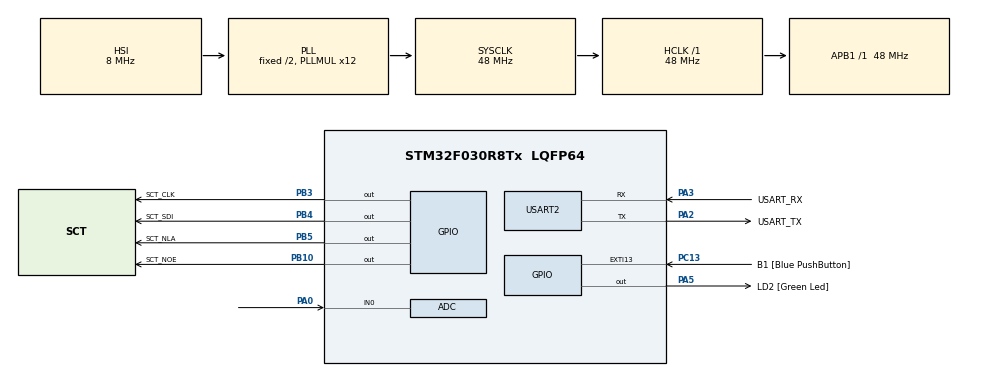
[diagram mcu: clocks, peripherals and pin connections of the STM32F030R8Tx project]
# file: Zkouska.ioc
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ADC.ContinuousConvMode=ENABLE
ADC.Overrun=ADC_OVR_DATA_OVERWRITTEN
ADC.SamplingTime=ADC_SAMPLETIME_239CYCLES_5
Mcu.Family=STM32F0
Mcu.Name=STM32F030R8Tx
Mcu.Package=LQFP64
NVIC.ADC1_IRQn=true\:0\:0\:false\:false\:true\:true\:true\:true
PA0.Mode=IN0
PA0.Signal=ADC_IN0
PA13.GPIO_Label=TMS
PA13.Mode=Serial_Wire
PA13.Signal=SYS_SWDIO
PA14.GPIO_Label=TCK
PA14.Mode=Serial_Wire
PA14.Signal=SYS_SWCLK
PA2.GPIO_Label=USART_TX
PA2.GPIO_Mode=GPIO_MODE_AF_PP
PA2.GPIO_PuPd=GPIO_NOPULL
PA2.GPIO_Speed=GPIO_SPEED_FREQ_LOW
PA2.Mode=Asynchronous
PA2.Signal=USART2_TX
PA3.GPIO_Label=USART_RX
PA3.GPIO_Mode=GPIO_MODE_AF_PP
PA3.GPIO_PuPd=GPIO_NOPULL
PA3.GPIO_Speed=GPIO_SPEED_FREQ_LOW
PA3.Mode=Asynchronous
PA3.Signal=USART2_RX
PA5.GPIO_Label=LD2 [Green Led]
PA5.GPIO_Mode=GPIO_MODE_OUTPUT_PP
PA5.GPIO_PuPd=GPIO_NOPULL
PA5.GPIO_Speed=GPIO_SPEED_FREQ_LOW
PA5.Signal=GPIO_Output
PB10.GPIO_Label=SCT_NOE
PB10.Signal=GPIO_Output
PB3.GPIO_Label=SCT_CLK
PB3.Signal=GPIO_Output
PB4.GPIO_Label=SCT_SDI
PB4.Signal=GPIO_Output
PB5.GPIO_Label=SCT_NLA
PB5.Signal=GPIO_Output
PC13.GPIO_Label=B1 [Blue PushButton]
PC13.GPIO_ModeDefaultEXTI=GPIO_MODE_IT_FALLING
PC13.Signal=GPXTI13
PC14-OSC32_IN.Mode=LSE-External-Oscillator
PC14-OSC32_IN.Signal=RCC_OSC32_IN
PC15-OSC32_OUT.Mode=LSE-External-Oscillator
PC15-OSC32_OUT.Signal=RCC_OSC32_OUT
PF0-OSC_IN.Mode=HSE-External-Clock-Source
PF0-OSC_IN.Signal=RCC_OSC_IN
PF1-OSC_OUT.Signal=RCC_OSC_OUT
ProjectManager.HeapSize=0x200
ProjectManager.StackSize=0x400
ProjectManager.TargetToolchain=STM32CubeIDE
RCC.AHBFreq_Value=48000000
RCC.APB1Freq_Value=48000000
RCC.APB1TimFreq_Value=48000000
RCC.HCLKFreq_Value=48000000
RCC.PLLMUL=RCC_PLL_MUL12
RCC.SYSCLKFreq_VALUE=48000000
RCC.SYSCLKSource=RCC_SYSCLKSOURCE_PLLCLK
USART2.VirtualMode-Asynchronous=VM_ASYNC
board=NUCLEO-F030R8

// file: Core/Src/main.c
/* USER CODE BEGIN Header */
/**
  ******************************************************************************
  * @file           : main.c
  * @brief          : Main program body
  ******************************************************************************
  * @attention
  *
  * Copyright (c) 2024 STMicroelectronics.
  * All rights reserved.
  *
  * This software is licensed under terms that can be found in the LICENSE file
  * in the root directory of this software component.
  * If no LICENSE file comes with this software, it is provided AS-IS.
  *
  * This is an exam from the MPC-MKS course.
  * Assigment is to use the potentiometer to select how fast will a knight rider
  * effect go. The effect will be done using the LED bar in the SCT library. The
  * delay is then shown on the sct display. Delay has limits from 20 to 500 ms.
  * 3 LEDs are shining at one time used as the "sweeping" bar.
  *
  *
  ******************************************************************************
  */
/* USER CODE END Header */
#include "main.h"

/* USER CODE BEGIN Includes */
#include "sct.h"
/* USER CODE END Includes */

/* USER CODE BEGIN PM */
#define ADC_Q 12 //Smoothing
#define displayDelay 50 //Number display delay
/* USER CODE END PM */

ADC_HandleTypeDef hadc;

UART_HandleTypeDef huart2;

/* USER CODE BEGIN PV */
static volatile uint32_t raw_pot;
/* USER CODE END PV */

void SystemClock_Config(void);
static void MX_GPIO_Init(void);
static void MX_USART2_UART_Init(void);
static void MX_ADC_Init(void);
/* USER CODE BEGIN PFP */
void HAL_ADC_ConvCpltCallback(ADC_HandleTypeDef* hadc);
/* USER CODE END PFP */

int main(void)
{

  /* MCU Configuration--------------------------------------------------------*/

  /* Reset of all peripherals, Initializes the Flash interface and the Systick. */
  HAL_Init();

  /* Configure the system clock */
  SystemClock_Config();

  /* Initialize all configured peripherals */
  MX_GPIO_Init();
  MX_USART2_UART_Init();
  MX_ADC_Init();
  /* USER CODE BEGIN 2 */
  // ADC Auto calibration
  HAL_ADCEx_Calibration_Start(&hadc);
  HAL_ADC_Start_IT(&hadc);
  // SCT library LED init
  sct_init();
  /* USER CODE END 2 */

  /* Infinite loop */
  /* USER CODE BEGIN WHILE */
  while (1)
  {
	  static uint32_t delayTime = 0;
	  static uint32_t prevTick = 0;
	  static uint32_t prevTickKITT = 0;
	  static uint8_t kittPos = 0;
	  static uint8_t kittDir = 1;

	  // Rescale the potentiometer value to 20-500 from 0-4095
	  delayTime = raw_pot* 480.9 /4095 + 20;

	  // Display the delay value on the display
	  if (HAL_GetTick() > prevTick + displayDelay) {
		  sct_value(delayTime, kittPos);
		  prevTick = HAL_GetTick();
	  }

	  // Knight Rider effect, Increments then decrements back to 0
	  if (HAL_GetTick() > prevTickKITT + delayTime){
		  sct_value(delayTime, kittPos);
		  if(kittDir == 1) {
			  kittPos++;
			  if(kittPos == 9) {
				  kittDir = 0;
			  }
		  } else {
			  kittPos--;
			  if(kittPos == 0) {
				  kittDir = 1;
			  }
		  }
		  prevTickKITT = HAL_GetTick();
	  }

    /* USER CODE END WHILE */
  }
}

void SystemClock_Config(void)
{
  RCC_OscInitTypeDef RCC_OscInitStruct = {0};
  RCC_ClkInitTypeDef RCC_ClkInitStruct = {0};

  /** Initializes the RCC Oscillators according to the specified parameters
  * in the RCC_OscInitTypeDef structure.
  */
  RCC_OscInitStruct.OscillatorType = RCC_OSCILLATORTYPE_HSI|RCC_OSCILLATORTYPE_HSI14;
  RCC_OscInitStruct.HSIState = RCC_HSI_ON;
  RCC_OscInitStruct.HSI14State = RCC_HSI14_ON;
  RCC_OscInitStruct.HSICalibrationValue = RCC_HSICALIBRATION_DEFAULT;
  RCC_OscInitStruct.HSI14CalibrationValue = 16;
  RCC_OscInitStruct.PLL.PLLState = RCC_PLL_ON;
  RCC_OscInitStruct.PLL.PLLSource = RCC_PLLSOURCE_HSI;
  RCC_OscInitStruct.PLL.PLLMUL = RCC_PLL_MUL12;
  RCC_OscInitStruct.PLL.PREDIV = RCC_PREDIV_DIV1;
  if (HAL_RCC_OscConfig(&RCC_OscInitStruct) != HAL_OK)
  {
    Error_Handler();
  }

  /** Initializes the CPU, AHB and APB buses clocks
  */
  RCC_ClkInitStruct.ClockType = RCC_CLOCKTYPE_HCLK|RCC_CLOCKTYPE_SYSCLK
                              |RCC_CLOCKTYPE_PCLK1;
  RCC_ClkInitStruct.SYSCLKSource = RCC_SYSCLKSOURCE_PLLCLK;
  RCC_ClkInitStruct.AHBCLKDivider = RCC_SYSCLK_DIV1;
  RCC_ClkInitStruct.APB1CLKDivider = RCC_HCLK_DIV1;

  if (HAL_RCC_ClockConfig(&RCC_ClkInitStruct, FLASH_LATENCY_1) != HAL_OK)
  {
    Error_Handler();
  }
}

static void MX_ADC_Init(void)
{

  ADC_ChannelConfTypeDef sConfig = {0};

  /** Configure the global features of the ADC (Clock, Resolution, Data Alignment and number of conversion)
  */
  hadc.Instance = ADC1;
  hadc.Init.ClockPrescaler = ADC_CLOCK_ASYNC_DIV1;
  hadc.Init.Resolution = ADC_RESOLUTION_12B;
  hadc.Init.DataAlign = ADC_DATAALIGN_RIGHT;
  hadc.Init.ScanConvMode = ADC_SCAN_DIRECTION_FORWARD;
  hadc.Init.EOCSelection = ADC_EOC_SINGLE_CONV;
  hadc.Init.LowPowerAutoWait = DISABLE;
  hadc.Init.LowPowerAutoPowerOff = DISABLE;
  hadc.Init.ContinuousConvMode = ENABLE;
  hadc.Init.DiscontinuousConvMode = DISABLE;
  hadc.Init.ExternalTrigConv = ADC_SOFTWARE_START;
  hadc.Init.ExternalTrigConvEdge = ADC_EXTERNALTRIGCONVEDGE_NONE;
  hadc.Init.DMAContinuousRequests = DISABLE;
  hadc.Init.Overrun = ADC_OVR_DATA_OVERWRITTEN;
  if (HAL_ADC_Init(&hadc) != HAL_OK)
  {
    Error_Handler();
  }

  /** Configure for the selected ADC regular channel to be converted.
  */
  sConfig.Channel = ADC_CHANNEL_0;
  sConfig.Rank = ADC_RANK_CHANNEL_NUMBER;
  sConfig.SamplingTime = ADC_SAMPLETIME_239CYCLES_5;
  if (HAL_ADC_ConfigChannel(&hadc, &sConfig) != HAL_OK)
  {
    Error_Handler();
  }

}

static void MX_USART2_UART_Init(void)
{

  huart2.Instance = USART2;
  huart2.Init.BaudRate = 38400;
  huart2.Init.WordLength = UART_WORDLENGTH_8B;
  huart2.Init.StopBits = UART_STOPBITS_1;
  huart2.Init.Parity = UART_PARITY_NONE;
  huart2.Init.Mode = UART_MODE_TX_RX;
  huart2.Init.HwFlowCtl = UART_HWCONTROL_NONE;
  huart2.Init.OverSampling = UART_OVERSAMPLING_16;
  huart2.Init.OneBitSampling = UART_ONE_BIT_SAMPLE_DISABLE;
  huart2.AdvancedInit.AdvFeatureInit = UART_ADVFEATURE_NO_INIT;
  if (HAL_UART_Init(&huart2) != HAL_OK)
  {
    Error_Handler();
  }

}

static void MX_GPIO_Init(void)
{
  GPIO_InitTypeDef GPIO_InitStruct = {0};

  /* GPIO Ports Clock Enable */
  __HAL_RCC_GPIOC_CLK_ENABLE();
  __HAL_RCC_GPIOF_CLK_ENABLE();
  __HAL_RCC_GPIOA_CLK_ENABLE();
  __HAL_RCC_GPIOB_CLK_ENABLE();

  /*Configure GPIO pin Output Level */
  HAL_GPIO_WritePin(LD2_GPIO_Port, LD2_Pin, GPIO_PIN_RESET);

  /*Configure GPIO pin Output Level */
  HAL_GPIO_WritePin(GPIOB, SCT_NOE_Pin|SCT_CLK_Pin|SCT_SDI_Pin|SCT_NLA_Pin, GPIO_PIN_RESET);

  /*Configure GPIO pin : B1_Pin */
  GPIO_InitStruct.Pin = B1_Pin;
  GPIO_InitStruct.Mode = GPIO_MODE_IT_FALLING;
  GPIO_InitStruct.Pull = GPIO_NOPULL;
  HAL_GPIO_Init(B1_GPIO_Port, &GPIO_InitStruct);

  /*Configure GPIO pin : LD2_Pin */
  GPIO_InitStruct.Pin = LD2_Pin;
  GPIO_InitStruct.Mode = GPIO_MODE_OUTPUT_PP;
  GPIO_InitStruct.Pull = GPIO_NOPULL;
  GPIO_InitStruct.Speed = GPIO_SPEED_FREQ_LOW;
  HAL_GPIO_Init(LD2_GPIO_Port, &GPIO_InitStruct);

  /*Configure GPIO pins : SCT_NOE_Pin SCT_CLK_Pin SCT_SDI_Pin SCT_NLA_Pin */
  GPIO_InitStruct.Pin = SCT_NOE_Pin|SCT_CLK_Pin|SCT_SDI_Pin|SCT_NLA_Pin;
  GPIO_InitStruct.Mode = GPIO_MODE_OUTPUT_PP;
  GPIO_InitStruct.Pull = GPIO_NOPULL;
  GPIO_InitStruct.Speed = GPIO_SPEED_FREQ_LOW;
  HAL_GPIO_Init(GPIOB, &GPIO_InitStruct);

}

/* USER CODE BEGIN 4 */
void HAL_ADC_ConvCpltCallback(ADC_HandleTypeDef* hadc){
	static uint32_t avg_pot;
	//Converts only one channel where the pot is
	//Averaging values to make it more smooth
	raw_pot = avg_pot >> ADC_Q;
	avg_pot -= raw_pot;
	avg_pot += HAL_ADC_GetValue(hadc);
}
/* USER CODE END 4 */

void Error_Handler(void)
{
  __disable_irq();
  while (1)
  {
  }
}
